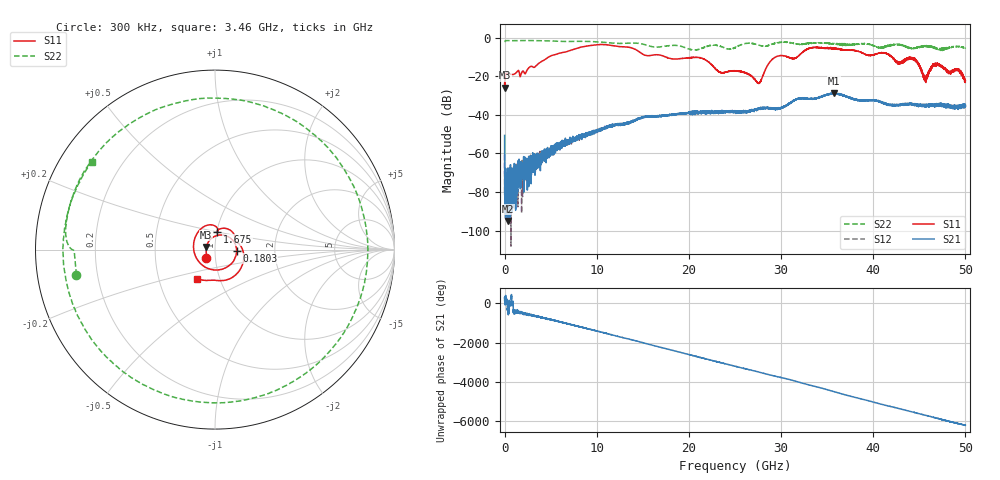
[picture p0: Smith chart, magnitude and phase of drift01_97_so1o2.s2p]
!Created with skrf (http://scikit-rf.org).
# Hz S RI R 50.0
!freq ReS11 ImS11 ReS21 ImS21 ReS12 ImS12 ReS22 ImS22
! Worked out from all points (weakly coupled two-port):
!   10001 points, 300 kHz to 50 GHz, reference 50 ohm
!   highest |S21| = -28.72 dB at 35.74 GHz (marker M1); lowest = -94.9 dB at 395.3 MHz (marker M2)
!   lowest |S11| = -25.8 dB at 5.3 MHz (marker M3), VSWR 1.11, Z = 45.3 + j1.38 ohm
!   |S11| at or under -10 dB: start of sweep to 4.769 GHz; 17.51 GHz to 29.38 GHz (11.87 GHz wide, 50.6 % of centre); 44.01 GHz to end of sweep (the widest 3 of 15)
!   |S22| runs from -6.6 to -1.4 dB; largest |S21 - S12| = 0.0036
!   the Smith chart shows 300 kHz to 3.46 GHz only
!   S11 on the Smith chart (normalised r, x): 300 kHz: 0.90, -0.08; 180.3 MHz: 1.27, -0.01; 1.675 GHz: 1.01, +0.20; 3.46 GHz: 0.77, -0.26
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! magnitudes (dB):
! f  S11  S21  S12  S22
! 300 kHz  -23.5  -50.6  -60.6  -2.1
! 5.3 MHz  -25.8  -72.8  -80.6  -2.1
! 180.3 MHz  -18.4  -70.4  -76.5  -1.4
! 395.3 MHz  -18.5  -94.9  -74.8  -1.4
! 1.675 GHz  -20.1  -70.1  -67.2  -1.4
! 3.46 GHz  -14.3  -65.3  -62.4  -1.5
! 8.335 GHz  -4.8  -51.2  -51.1  -1.8
! 16.67 GHz  -8.8  -40.5  -40.7  -4.8
! 21.22 GHz  -10.3  -38.9  -38.2  -5.7
! 23.4 GHz  -17.9  -37.9  -38.4  -4.4
! 25 GHz  -17.2  -37.8  -38.6  -5.1
! 27.59 GHz  -23.6  -36.8  -36.9  -3.8
! 29.28 GHz  -10.3  -36.8  -36.9  -2.8
! 31.45 GHz  -10.7  -32.5  -32.4  -3.0
! 33.34 GHz  -5.1  -31.7  -31.6  -2.7
! 35.74 GHz  -5.3  -28.7  -28.9  -2.9
! 41.67 GHz  -8.8  -34.8  -34.8  -4.2
! 42.74 GHz  -13.0  -35.1  -35.2  -3.4
! 44.43 GHz  -11.2  -34.9  -34.7  -5.2
! 45.63 GHz  -20.8  -35.1  -34.7  -4.3
! 46.96 GHz  -13.4  -34.7  -34.3  -5.7
! 50 GHz  -22.3  -35.5  -34.7  -5.4
